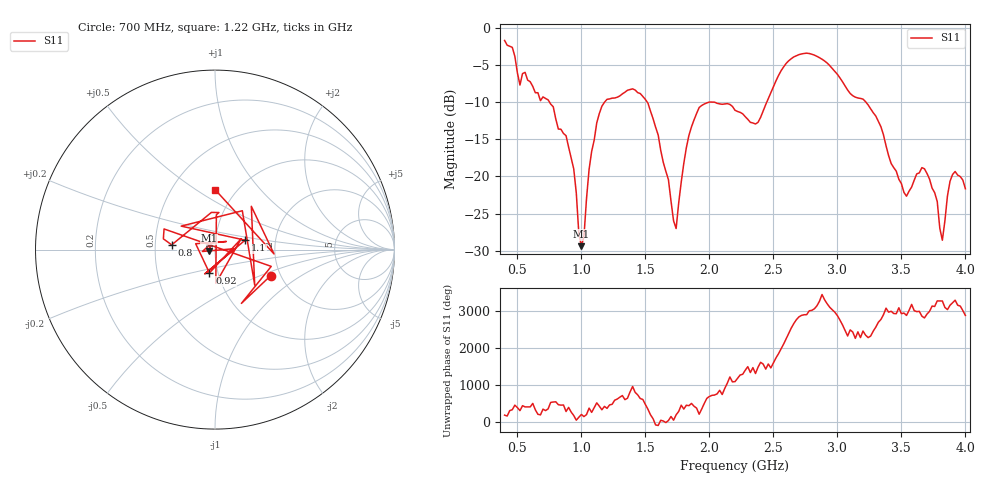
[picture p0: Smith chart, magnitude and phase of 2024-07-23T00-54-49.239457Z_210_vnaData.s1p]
!Created with skrf (http://scikit-rf.org).
# Hz S RI R 50.0
!freq ReS11 ImS11
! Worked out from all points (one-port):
!   181 points, 400 MHz to 4 GHz, reference 50 ohm
!   lowest |S11| = -29.4 dB at 1 GHz (marker M1), VSWR 1.07, Z = 46.8 - j0.622 ohm
!   |S11| at or under -10 dB: 750.2 MHz to 1.182 GHz (431.7 MHz wide, 44.7 % of centre); 1.514 GHz to 2.449 GHz (935 MHz wide, 47.2 % of centre); 3.222 GHz to end of sweep
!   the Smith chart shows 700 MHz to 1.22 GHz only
!   S11 on the Smith chart (normalised r, x): 700 MHz: 1.77, -0.59; 800 MHz: 0.61, +0.03; 920 MHz: 0.91, -0.24; 1.1 GHz: 1.39, +0.15; 1.22 GHz: 0.81, +0.60
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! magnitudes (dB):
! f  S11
! 400 MHz  -1.7
! 520 MHz  -7.7
! 700 MHz  -9.3
! 800 MHz  -12.3
! 860 MHz  -14.2
! 920 MHz  -17.5
! 1 GHz  -29.4
! 1.1 GHz  -15.1
! 1.22 GHz  -9.6
! 1.3 GHz  -9.2
! 1.52 GHz  -10.2
! 1.68 GHz  -20.4
! 1.72 GHz  -26.0
! 1.74 GHz  -27.0
! 1.76 GHz  -23.6
! 1.84 GHz  -14.5
! 1.92 GHz  -10.7
! 2.2 GHz  -11.1
! 2.38 GHz  -12.7
! 2.66 GHz  -3.9
! 3.1 GHz  -8.9
! 3.3 GHz  -11.9
! 3.56 GHz  -22.0
! 3.68 GHz  -19.0
! 3.78 GHz  -23.4
! 3.82 GHz  -28.6
! 3.9 GHz  -19.7
! 4 GHz  -21.6
